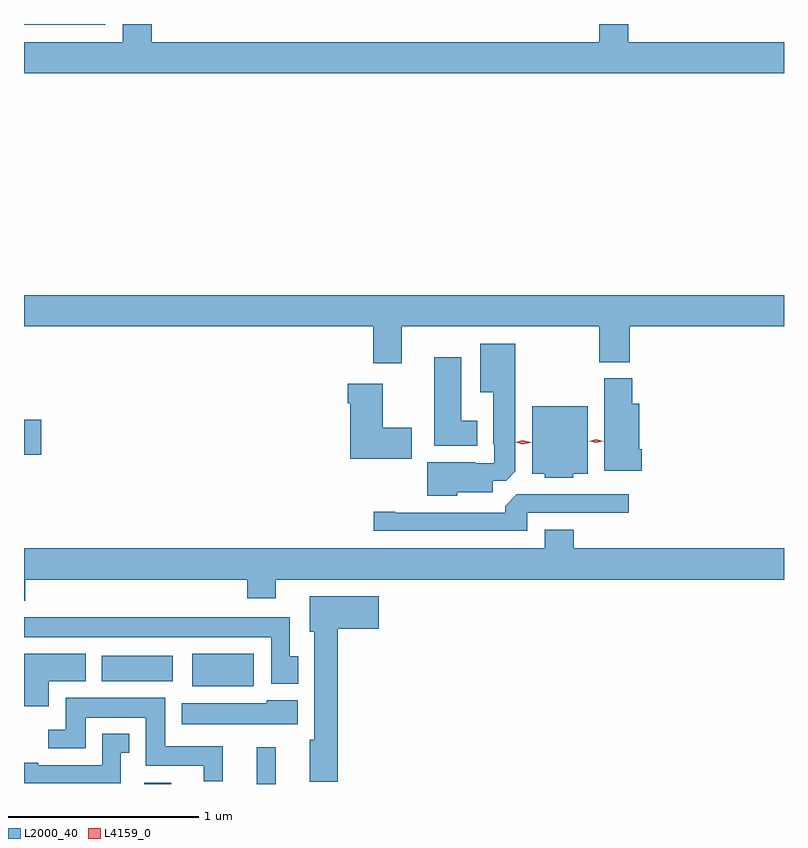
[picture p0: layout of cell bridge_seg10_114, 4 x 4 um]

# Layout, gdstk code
import gdstk
lib = gdstk.Library(unit=1e-6, precision=1e-09)
def R(c, l, rs):  # rectangles x0, y0, x1, y1
    for r in rs: c.add(gdstk.rectangle(r[:2], r[2:], *l))
def P(c, l, *ps):  # polygons
    for p in ps: c.add(gdstk.Polygon(p, *l))
L2000_40 = (2000, 40)
L4159_0 = (4159, 0)

bridge_seg10_114 = lib.new_cell('bridge_seg10_114')
R(bridge_seg10_114, L2000_40, [(409.127,1295.244,409.267,1295.251), (409.718,1295.244,409.817,1295.437), (409.379,1295.759,409.702,1295.929), (408.902,1295.786,409.276,1295.92), (408.493,1296.977,408.583,1297.16), (408.493,1299.24,408.921,1299.244)])
P(bridge_seg10_114, L2000_40, [(412.493,1299.148),(411.673,1299.148),(411.673,1299.244),(411.521,1299.244),(411.521,1299.148),(409.166,1299.148),(409.166,1299.244),(409.013,1299.244),(409.013,1299.148),(408.493,1299.148),(408.493,1298.984),(412.493,1298.984)],
  [(410.482,1297.652),(411.52,1297.652),(411.52,1297.465),(411.68,1297.465),(411.68,1297.652),(412.493,1297.652),(412.493,1297.816),(408.493,1297.816),(408.493,1297.652),(410.33,1297.652),(410.33,1297.458),(410.482,1297.458)],
  [(410.772,1296.779),(410.959,1296.779),(410.959,1296.84),(411.03,1296.84),(411.079,1296.889),(411.079,1297.561),(410.894,1297.561),(410.894,1297.307),(410.963,1297.307),(410.963,1297.033),(410.967,1297.033),(410.967,1296.933),(410.867,1296.933),(410.867,1296.937),(410.615,1296.937),(410.615,1296.761),(410.772,1296.761)],
  [(410.878,1297.156),(410.794,1297.156),(410.794,1297.489),(410.651,1297.489),(410.651,1297.025),(410.878,1297.025)],
  [(411.743,1297.006),(411.73,1297.006),(411.73,1297.246),(411.695,1297.246),(411.695,1297.38),(411.548,1297.38),(411.548,1296.894),(411.743,1296.894)],
  [(410.533,1297.119),(410.38,1297.119),(410.38,1297.351),(410.198,1297.351),(410.198,1297.247),(410.21,1297.247),(410.21,1296.956),(410.533,1296.956)],
  [(411.384,1296.878),(411.46,1296.878),(411.46,1297.231),(411.167,1297.231),(411.167,1296.878),(411.234,1296.878),(411.234,1296.857),(411.384,1296.857)],
  [(411.141,1296.672),(411.676,1296.672),(411.676,1296.768),(411.087,1296.768),(411.026,1296.706),(411.026,1296.672),(410.446,1296.672),(410.446,1296.677),(410.334,1296.677),(410.334,1296.576),(411.141,1296.576)],
  [(408.5,1296.32),(409.667,1296.32),(409.667,1296.221),(409.819,1296.221),(409.819,1296.32),(412.493,1296.32),(412.493,1296.484),(411.386,1296.484),(411.386,1296.583),(411.233,1296.583),(411.233,1296.484),(408.493,1296.484),(408.493,1296.209),(408.5,1296.209)],
  [(410.144,1296.062),(410.359,1296.062),(410.359,1296.232),(409.997,1296.232),(409.997,1296.045),(410.021,1296.045),(410.021,1295.478),(409.997,1295.478),(409.997,1295.256),(410.144,1295.256)],
  [(409.936,1295.916),(409.891,1295.916),(409.891,1296.121),(408.493,1296.121),(408.493,1296.017),(409.794,1296.017),(409.794,1295.772),(409.936,1295.772)],
  [(408.622,1295.786),(408.817,1295.786),(408.817,1295.929),(408.493,1295.929),(408.493,1295.652),(408.622,1295.652)],
  [(409.538,1295.443),(409.237,1295.443),(409.237,1295.698),(408.713,1295.698),(408.713,1295.529),(408.621,1295.529),(408.621,1295.433),(408.817,1295.433),(408.817,1295.594),(409.133,1295.594),(409.133,1295.339),(409.439,1295.339),(409.439,1295.259),(409.538,1295.259)],
  [(409.933,1295.686),(409.77,1295.686),(409.77,1295.668),(409.322,1295.668),(409.322,1295.558),(409.933,1295.558)],
  [(409.002,1295.409),(409.048,1295.409),(409.048,1295.509),(408.906,1295.509),(408.906,1295.343),(408.568,1295.343),(408.568,1295.356),(408.493,1295.356),(408.493,1295.247),(409.002,1295.247)])
P(bridge_seg10_114, L4159_0, [(411.504,1297.039),(411.468,1297.049),(411.467,1297.049),(411.468,1297.049),(411.504,1297.059),(411.542,1297.049),(411.542,1297.049),(411.542,1297.049)],
  [(411.119,1297.032),(411.078,1297.043),(411.078,1297.043),(411.078,1297.044),(411.119,1297.052),(411.16,1297.042),(411.16,1297.042),(411.16,1297.041)])

lib.write_gds('bridge_seg10_114.gds')
